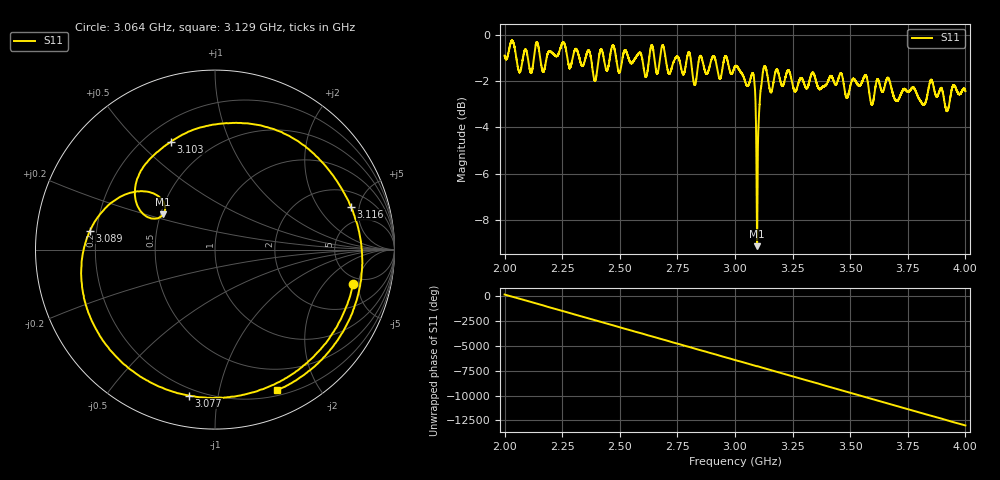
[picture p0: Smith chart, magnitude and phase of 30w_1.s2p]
!Agilent Technologies,E8362B,MY43021131,A.07.50.67
!Agilent E8362B: A.07.50.67
!Date: Thursday, March 14, 2024 13:37:33
!Correction: S11(Off)
!S21(Off)
!S12(Off)
!S22(Off)
!S2P File: Measurements: S11, S21, S12, S22:
# Hz S  RI  R 50
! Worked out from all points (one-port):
!   20001 points, 2 GHz to 4 GHz, reference 50 ohm
!   lowest |S11| = -9.1 dB at 3.096 GHz (marker M1), VSWR 2.07, Z = 25.8 + j11.5 ohm
!   |S11| at or under -10 dB: nowhere
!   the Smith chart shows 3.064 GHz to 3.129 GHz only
!   S11 on the Smith chart (normalised r, x): 3.064 GHz: 4.12, -4.28; 3.077 GHz: 0.16, -0.82; 3.089 GHz: 0.17, +0.07; 3.103 GHz: 0.30, +0.63; 3.116 GHz: 3.21, +4.11; 3.129 GHz: 0.26, -1.51
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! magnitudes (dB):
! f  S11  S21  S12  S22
! 2 GHz  -0.9  -  -  -
! 2.333 GHz  -1.3  -  -  -
! 2.667 GHz  -1.5  -  -  -
! 2.687 GHz  -0.4  -  -  -
! 2.801 GHz  -0.7  -  -  -
! 2.825 GHz  -2.2  -  -  -
! 2.85 GHz  -0.9  -  -  -
! 3 GHz  -1.4  -  -  -
! 3.064 GHz  -2.0  -  -  -
! 3.077 GHz  -1.7  -  -  -
! 3.089 GHz  -3.0  -  -  -
! 3.096 GHz  -9.1  -  -  -
! 3.103 GHz  -3.7  -  -  -
! 3.116 GHz  -2.0  -  -  -
! 3.129 GHz  -1.3  -  -  -
! 3.156 GHz  -2.5  -  -  -
! 3.333 GHz  -1.6  -  -  -
! 3.566 GHz  -1.7  -  -  -
! 3.594 GHz  -3.0  -  -  -
! 3.667 GHz  -1.9  -  -  -
! 3.92 GHz  -3.3  -  -  -
! 4 GHz  -2.4  -  -  -
